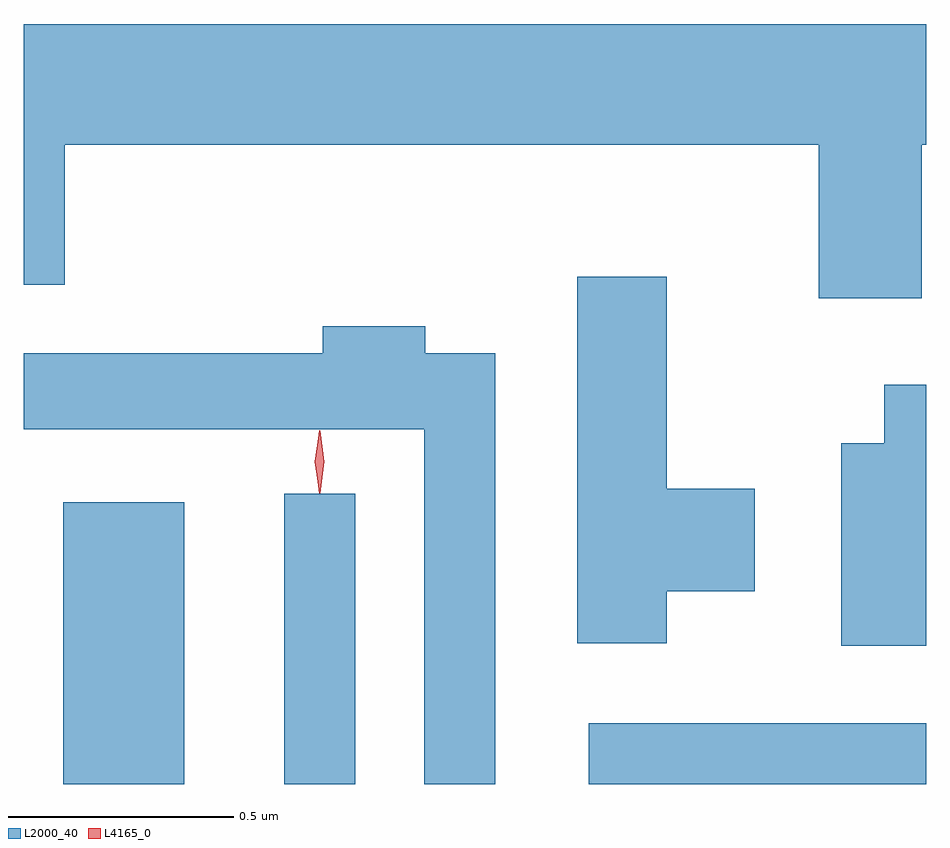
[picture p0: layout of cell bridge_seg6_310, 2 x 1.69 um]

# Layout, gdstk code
import gdstk
lib = gdstk.Library(unit=1e-6, precision=1e-09)
def R(c, l, rs):  # rectangles x0, y0, x1, y1
    for r in rs: c.add(gdstk.rectangle(r[:2], r[2:], *l))
def P(c, l, *ps):  # polygons
    for p in ps: c.add(gdstk.Polygon(p, *l))
L2000_40 = (2000, 40)
L4165_0 = (4165, 0)

bridge_seg6_310 = lib.new_cell('bridge_seg6_310')
R(bridge_seg6_310, L2000_40, [(1267.546,1541.959,1267.814,1542.584), (1268.036,1541.959,1268.194,1542.603), (1268.711,1541.959,1269.459,1542.094)])
P(bridge_seg6_310, L2000_40, [(1269.449,1543.376),(1269.459,1543.376),(1269.459,1543.644),(1267.459,1543.644),(1267.459,1543.066),(1267.549,1543.066),(1267.549,1543.376),(1269.221,1543.376),(1269.221,1543.036),(1269.449,1543.036)],
  [(1268.884,1542.386),(1269.079,1542.386),(1269.079,1542.614),(1268.884,1542.614),(1268.884,1543.084),(1268.686,1543.084),(1268.686,1542.271),(1268.884,1542.271)],
  [(1268.504,1542.914),(1268.349,1542.914),(1268.349,1542.974),(1268.121,1542.974),(1268.121,1542.914),(1267.459,1542.914),(1267.459,1542.746),(1268.346,1542.746),(1268.346,1541.959),(1268.504,1541.959)],
  [(1269.459,1542.844),(1269.366,1542.844),(1269.366,1542.714),(1269.271,1542.714),(1269.271,1542.266),(1269.459,1542.266)])
P(bridge_seg6_310, L4165_0, [(1268.114,1542.604),(1268.105,1542.674),(1268.114,1542.742),(1268.115,1542.743),(1268.116,1542.742),(1268.125,1542.674),(1268.116,1542.604),(1268.115,1542.604)],
  [(1268.114,1542.607),(1268.114,1542.608),(1268.104,1542.674),(1268.114,1542.74),(1268.114,1542.741),(1268.115,1542.74),(1268.124,1542.674),(1268.115,1542.608)])

lib.write_gds('bridge_seg6_310.gds')
